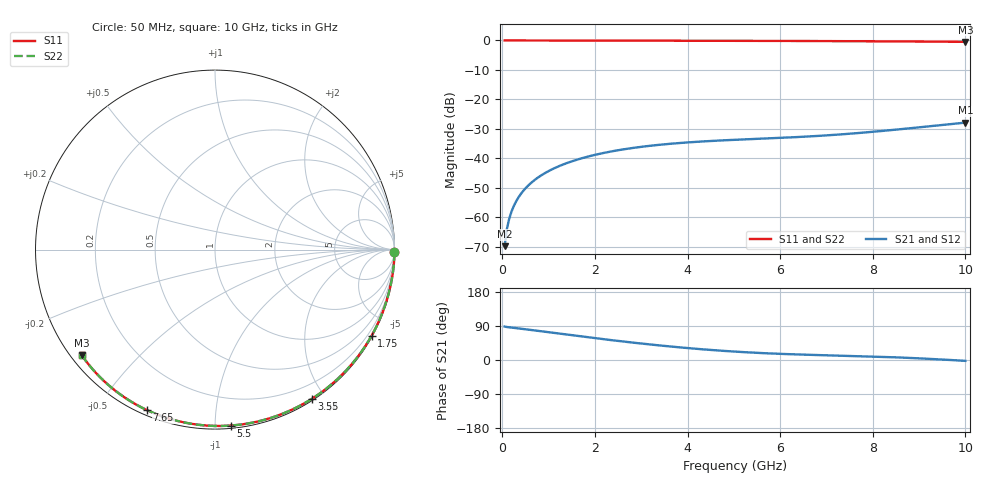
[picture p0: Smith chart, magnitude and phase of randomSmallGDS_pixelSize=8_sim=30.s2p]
! freq	dB(S11)	phase(S11)	dB(S12)	phase(S12)
!  dB(S21)	phase(S21)	dB(S22)	phase(S22)
!S-par simulation data
#  GHz  S  DB  R 50
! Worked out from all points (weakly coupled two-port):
!   200 points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, 50 MHz to 10 GHz, reference 50 ohm
!   highest |S21| = -27.91 dB at 10 GHz (marker M1); lowest = -69.9 dB at 50 MHz (marker M2)
!   lowest |S11| = -0.5 dB at 10 GHz (marker M3), VSWR 37.02, Z = 1.51 - j17.3 ohm
!   |S11| at or under -10 dB: nowhere
!   |S22| runs from -0.5 to 0.0 dB; largest |S21 - S12| = 0
!   S11 on the Smith chart (normalised r, x): 50 MHz: open; 1.75 GHz: 0.03, -3.89; 3.55 GHz: 0.02, -1.85; 5.5 GHz: 0.02, -1.09; 7.65 GHz: 0.02, -0.66; 10 GHz: 0.03, -0.35
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0.05  -0.00 -0.8  -69.87 88.2  -69.87 88.2  -0.00 -0.8
0.1  -0.00 -1.7  -63.96 87.0  -63.96 87.0  -0.00 -1.7
0.15  -0.00 -2.5  -60.53 86.2  -60.53 86.2  -0.00 -2.5
0.2  -0.00 -3.4  -58.08 85.5  -58.08 85.5  -0.00 -3.4
0.25  -0.00 -4.2  -56.18 84.8  -56.18 84.8  -0.00 -4.2
0.35  -0.00 -5.9  -53.30 83.4  -53.30 83.4  -0.00 -5.9
0.5  -0.01 -8.4  -50.24 81.1  -50.24 81.1  -0.01 -8.4
0.7  -0.01 -11.7  -47.37 78.0  -47.37 78.0  -0.01 -11.7
1  -0.02 -16.6  -44.37 73.2  -44.37 73.2  -0.02 -16.6
1.35  -0.03 -22.3  -41.90 67.7  -41.90 67.7  -0.03 -22.3
1.75  -0.04 -28.8  -39.86 61.5  -39.86 61.5  -0.04 -28.8
2.5  -0.05 -40.8  -37.29 50.3  -37.29 50.3  -0.05 -40.7
3.4  -0.07 -54.6  -35.43 38.4  -35.43 38.4  -0.07 -54.6
3.55  -0.08 -56.9  -35.20 36.6  -35.20 36.6  -0.08 -56.9
4.3  -0.10 -68.0  -34.33 28.4  -34.33 28.4  -0.10 -68.0
5.05  -0.12 -78.7  -33.72 21.9  -33.72 21.9  -0.12 -78.7
5.5  -0.14 -84.9  -33.42 18.9  -33.42 18.9  -0.14 -84.9
6.7  -0.19 -100.9  -32.53 13.5  -32.53 13.5  -0.19 -100.9
7.65  -0.25 -113.0  -31.50 10.5  -31.50 10.5  -0.25 -113.0
8.35  -0.31 -121.7  -30.52 7.7  -30.52 7.7  -0.31 -121.7
9.2  -0.38 -132.0  -29.19 3.2  -29.19 3.2  -0.38 -132.0
10  -0.47 -141.7  -27.91 -2.3  -27.91 -2.3  -0.47 -141.7
